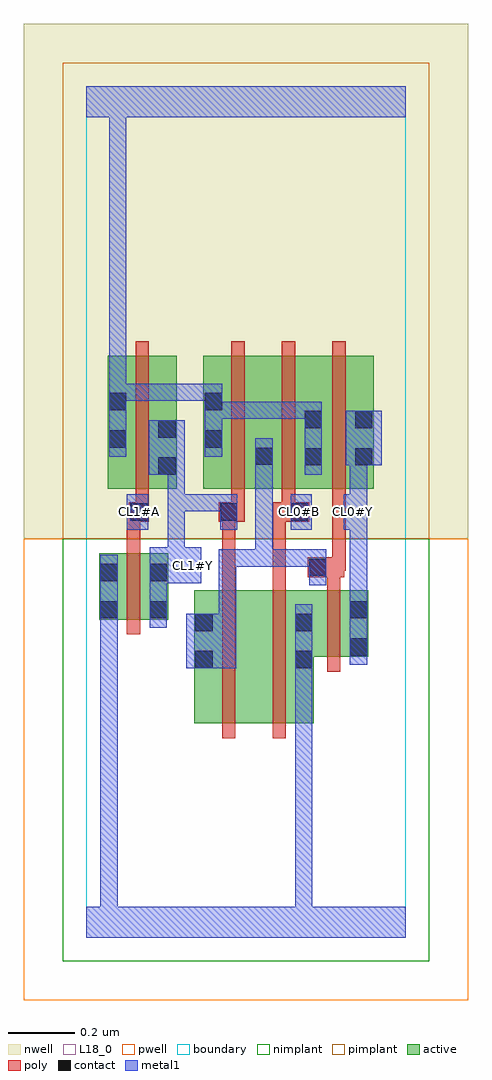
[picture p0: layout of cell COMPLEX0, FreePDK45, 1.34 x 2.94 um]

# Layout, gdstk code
import gdstk
lib = gdstk.Library(unit=1e-6, precision=1e-09)
def R(c, l, rs):  # rectangles x0, y0, x1, y1
    for r in rs: c.add(gdstk.rectangle(r[:2], r[2:], *l))
def A(c, l, x, y, w, h, nx, ny, dx, dy):  # array of equal rectangles
    R(c, l, [(x+i*dx, y+j*dy, x+i*dx+w, y+j*dy+h) for i in range(nx) for j in range(ny)])
active = (1, 0)
pwell = (2, 0)
nwell = (3, 0)
nimplant = (4, 0)
pimplant = (5, 0)
poly = (9, 0)
contact = (10, 0)
metal1 = (11, 0)
L18_0 = (18, 0)
boundary = (235, 0)

complex0 = lib.new_cell('COMPLEX0')
R(complex0, active, [(0.324,0.644,0.504,1.044), (0.504,0.644,0.684,1.044), (0.624,0.644,0.684,0.978), (0.324,0.756,0.384,1.044), (0.624,0.844,0.848,1.044), (0.788,0.844,0.848,1.044), (0.038,0.956,0.098,1.156), (0.038,0.956,0.246,1.156), (0.186,0.956,0.246,1.156), (0.064,1.35,0.124,1.644), (0.064,1.35,0.272,1.75), (0.212,1.35,0.272,1.644), (0.352,1.35,0.412,1.644), (0.352,1.35,0.564,1.75), (0.504,1.35,0.564,1.644), (0.504,1.35,0.712,1.75), (0.652,1.35,0.864,1.75), (0.804,1.35,0.864,1.644), (0.652,1.416,0.712,1.644)])
R(complex0, pwell, [(-0.188,-0.188,1.148,1.2)])
R(complex0, nwell, [(-0.188,1.2,1.148,2.748)])
R(complex0, nimplant, [(-0.072,-0.072,1.032,1.2)])
R(complex0, pimplant, [(-0.072,1.2,1.032,2.632)])
A(complex0, poly, 0.436, 1.306, 0.04, 0.488, 3, 1, 0.152, 0)
R(complex0, poly, [(0.408,0.6,0.448,1.088), (0.56,0.6,0.6,1.088), (0.724,0.8,0.764,1.088), (0.122,0.912,0.162,1.2), (0.408,1.048,0.448,1.29), (0.56,1.048,0.6,1.29), (0.724,1.048,0.764,1.124), (0.666,1.084,0.776,1.144), (0.736,1.104,0.776,1.144), (0.736,1.104,0.78,1.144), (0.74,1.104,0.78,1.346), (0.122,1.16,0.162,1.29), (0.122,1.25,0.168,1.29), (0.128,1.25,0.168,1.29), (0.128,1.25,0.188,1.31), (0.398,1.25,0.476,1.31), (0.408,1.25,0.448,1.29), (0.408,1.25,0.448,1.29), (0.56,1.25,0.6,1.29), (0.56,1.25,0.6,1.29), (0.56,1.25,0.67,1.31), (0.148,1.27,0.188,1.346), (0.436,1.27,0.476,1.346), (0.588,1.27,0.628,1.346), (0.148,1.306,0.188,1.794)])
R(complex0, contact, [(0.328,0.81,0.38,0.862), (0.628,0.81,0.68,0.862), (0.792,0.848,0.844,0.9), (0.328,0.922,0.38,0.974), (0.628,0.922,0.68,0.974), (0.042,0.96,0.094,1.012), (0.19,0.96,0.242,1.012), (0.792,0.96,0.844,1.012), (0.042,1.072,0.094,1.124), (0.19,1.072,0.242,1.124), (0.67,1.088,0.722,1.14), (0.132,1.254,0.184,1.306), (0.402,1.254,0.454,1.306), (0.614,1.254,0.666,1.306), (0.216,1.392,0.268,1.444), (0.656,1.42,0.708,1.472), (0.808,1.42,0.86,1.472), (0.508,1.422,0.56,1.474), (0.068,1.474,0.12,1.526), (0.356,1.474,0.408,1.526), (0.216,1.504,0.268,1.556), (0.656,1.532,0.708,1.584), (0.808,1.532,0.86,1.584), (0.068,1.586,0.12,1.638), (0.356,1.586,0.408,1.638)])
R(complex0, metal1, [(0,0,0.96,0.092), (0.042,0.04,0.094,0.092), (0.042,0.04,0.094,0.092), (0.042,0.04,0.094,0.092), (0.042,0.04,0.094,0.092), (0.042,0.04,0.094,0.092), (0.042,0.04,0.094,0.092), (0.042,0.04,0.094,0.092), (0.042,0.04,0.094,0.092), (0.042,0.04,0.094,0.092), (0.042,0.04,0.094,0.092), (0.042,0.04,0.094,0.092), (0.042,0.04,0.094,0.092), (0.042,0.04,0.094,0.092), (0.042,0.04,0.094,0.092), (0.042,0.04,0.094,0.092), (0.042,0.04,0.094,0.092), (0.042,0.04,0.094,0.984), (0.628,0.04,0.68,0.092), (0.628,0.04,0.68,0.092), (0.628,0.04,0.68,0.092), (0.628,0.04,0.68,0.092), (0.628,0.04,0.68,0.092), (0.628,0.04,0.68,0.092), (0.628,0.04,0.68,0.092), (0.628,0.04,0.68,0.092), (0.628,0.04,0.68,0.834), (0.628,0.782,0.68,0.834), (0.628,0.782,0.68,0.834), (0.628,0.782,0.68,0.834), (0.628,0.782,0.68,0.834), (0.628,0.782,0.68,1.002), (0.3,0.81,0.45,0.974), (0.792,0.82,0.844,1.04), (0.398,0.922,0.45,1.168), (0.042,0.932,0.094,1.152), (0.19,0.932,0.242,1.152), (0.792,0.988,0.844,1.278), (0.67,1.06,0.722,1.168), (0.19,1.066,0.346,1.174), (0.19,1.1,0.242,1.152), (0.398,1.116,0.45,1.168), (0.398,1.116,0.46,1.168), (0.408,1.116,0.46,1.168), (0.408,1.116,0.56,1.168), (0.508,1.116,0.56,1.168), (0.508,1.116,0.57,1.168), (0.508,1.116,0.56,1.446), (0.518,1.116,0.57,1.168), (0.518,1.116,0.716,1.168), (0.664,1.116,0.716,1.168), (0.664,1.116,0.722,1.168), (0.244,1.122,0.296,1.334), (0.122,1.226,0.186,1.334), (0.402,1.226,0.454,1.334), (0.614,1.226,0.678,1.334), (0.774,1.226,0.844,1.334), (0.244,1.282,0.296,1.334), (0.244,1.282,0.296,1.334), (0.244,1.282,0.296,1.334), (0.244,1.282,0.454,1.334), (0.244,1.282,0.296,1.444), (0.792,1.282,0.844,1.472), (0.188,1.392,0.296,1.556), (0.656,1.392,0.708,1.612), (0.508,1.394,0.56,1.446), (0.508,1.394,0.56,1.446), (0.508,1.394,0.56,1.502), (0.78,1.42,0.888,1.584), (0.792,1.42,0.844,1.472), (0.792,1.42,0.844,1.472), (0.068,1.446,0.12,1.666), (0.356,1.446,0.408,1.666), (0.356,1.56,0.456,1.612), (0.404,1.56,0.456,1.612), (0.404,1.56,0.57,1.612), (0.518,1.56,0.57,1.612), (0.518,1.56,0.57,1.612), (0.518,1.56,0.57,1.612), (0.518,1.56,0.708,1.612), (0.068,1.614,0.12,1.666), (0.068,1.614,0.12,1.666), (0.068,1.614,0.12,1.666), (0.068,1.614,0.12,1.666), (0.068,1.614,0.23,1.666), (0.068,1.614,0.12,2.52), (0.178,1.614,0.23,1.666), (0.178,1.614,0.408,1.666), (0,2.468,0.96,2.56), (0.068,2.468,0.12,2.52), (0.068,2.468,0.12,2.52), (0.068,2.468,0.12,2.52), (0.068,2.468,0.12,2.52), (0.068,2.468,0.12,2.52), (0.068,2.468,0.12,2.52), (0.068,2.468,0.12,2.52), (0.068,2.468,0.12,2.52), (0.068,2.468,0.12,2.52), (0.068,2.468,0.12,2.52), (0.068,2.468,0.12,2.52), (0.068,2.468,0.12,2.52), (0.068,2.468,0.12,2.52), (0.068,2.468,0.12,2.52)])
R(complex0, L18_0, [(0,0,0.96,0.092), (0.042,0.04,0.094,0.092), (0.042,0.04,0.094,0.092), (0.042,0.04,0.094,0.092), (0.042,0.04,0.094,0.092), (0.042,0.04,0.094,0.092), (0.042,0.04,0.094,0.092), (0.042,0.04,0.094,0.092), (0.042,0.04,0.094,0.092), (0.042,0.04,0.094,0.092), (0.042,0.04,0.094,0.092), (0.042,0.04,0.094,0.092), (0.042,0.04,0.094,0.092), (0.042,0.04,0.094,0.092), (0.042,0.04,0.094,0.092), (0.042,0.04,0.094,0.092), (0.042,0.04,0.094,0.092), (0.042,0.04,0.094,0.984), (0.628,0.04,0.68,0.092), (0.628,0.04,0.68,0.092), (0.628,0.04,0.68,0.092), (0.628,0.04,0.68,0.092), (0.628,0.04,0.68,0.092), (0.628,0.04,0.68,0.092), (0.628,0.04,0.68,0.092), (0.628,0.04,0.68,0.092), (0.628,0.04,0.68,0.834), (0.628,0.782,0.68,0.834), (0.628,0.782,0.68,0.834), (0.628,0.782,0.68,0.834), (0.628,0.782,0.68,0.834), (0.628,0.782,0.68,1.002), (0.792,0.82,0.844,1.04), (0.042,0.932,0.094,1.152), (0.19,0.932,0.242,1.152), (0.792,0.988,0.844,1.278), (0.19,1.066,0.346,1.174), (0.294,1.094,0.346,1.146), (0.19,1.1,0.242,1.152), (0.244,1.122,0.296,1.334), (0.122,1.226,0.186,1.334), (0.402,1.226,0.454,1.334), (0.614,1.226,0.678,1.334), (0.774,1.226,0.844,1.334), (0.134,1.254,0.186,1.306), (0.614,1.254,0.666,1.306), (0.774,1.254,0.826,1.306), (0.244,1.282,0.296,1.334), (0.244,1.282,0.296,1.334), (0.244,1.282,0.296,1.334), (0.244,1.282,0.296,1.444), (0.244,1.282,0.454,1.334), (0.792,1.282,0.844,1.472), (0.188,1.392,0.296,1.556), (0.656,1.392,0.708,1.612), (0.78,1.42,0.888,1.584), (0.792,1.42,0.844,1.472), (0.792,1.42,0.844,1.472), (0.068,1.446,0.12,1.666), (0.356,1.446,0.408,1.666), (0.356,1.56,0.456,1.612), (0.404,1.56,0.456,1.612), (0.404,1.56,0.57,1.612), (0.518,1.56,0.57,1.612), (0.518,1.56,0.57,1.612), (0.518,1.56,0.57,1.612), (0.518,1.56,0.708,1.612), (0.068,1.614,0.12,1.666), (0.068,1.614,0.12,1.666), (0.068,1.614,0.12,1.666), (0.068,1.614,0.12,1.666), (0.068,1.614,0.12,2.52), (0.068,1.614,0.23,1.666), (0.178,1.614,0.23,1.666), (0.178,1.614,0.408,1.666), (0,2.468,0.96,2.56), (0.068,2.468,0.12,2.52), (0.068,2.468,0.12,2.52), (0.068,2.468,0.12,2.52), (0.068,2.468,0.12,2.52), (0.068,2.468,0.12,2.52), (0.068,2.468,0.12,2.52), (0.068,2.468,0.12,2.52), (0.068,2.468,0.12,2.52), (0.068,2.468,0.12,2.52), (0.068,2.468,0.12,2.52), (0.068,2.468,0.12,2.52), (0.068,2.468,0.12,2.52), (0.068,2.468,0.12,2.52), (0.068,2.468,0.12,2.52)])
R(complex0, boundary, [(0,0,0.96,2.56)])
complex0.add(gdstk.Label('CL0#B', (0.64,1.28), layer=11, texttype=0))
complex0.add(gdstk.Label('CL0#Y', (0.8,1.28), layer=11, texttype=0))
complex0.add(gdstk.Label('CL1#A', (0.16,1.28), layer=11, texttype=0))
complex0.add(gdstk.Label('CL1#Y', (0.32,1.12), layer=11, texttype=0))

lib.write_gds('COMPLEX0.gds')
